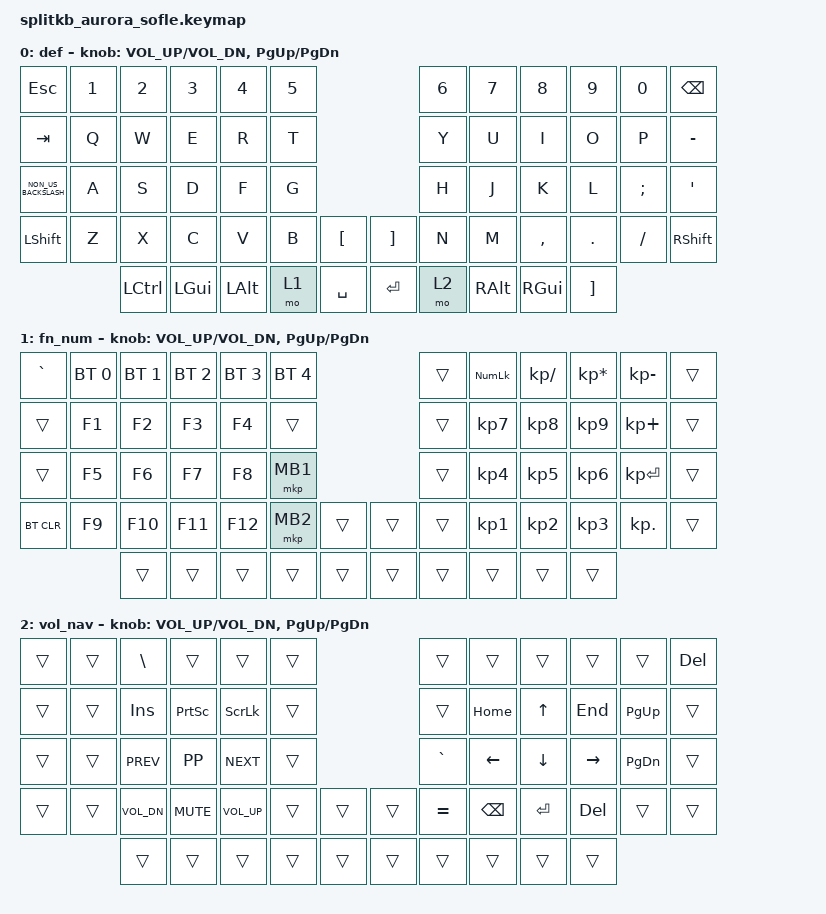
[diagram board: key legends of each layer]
#include <behaviors.dtsi>
#include <dt-bindings/zmk/bt.h>
#include <dt-bindings/zmk/keys.h>
#include <dt-bindings/zmk/mouse.h>

/* Rgb
&led_strip {
    chain-length = <6>;
    // chain-length = <35>; // Per key + underglow
    // chain-length = <29>; // Per key
};
 */

/{
keymap {
    compatible = "zmk,keymap";
    def {
        bindings = <
            &kp ESC                 &kp N1              &kp N2              &kp N3              &kp N4              &kp N5                                                      &kp N6              &kp N7              &kp N8              &kp N9              &kp N0              &kp BSPC
            &kp TAB                 &kp Q               &kp W               &kp E               &kp R               &kp T                                                       &kp Y               &kp U               &kp I               &kp O               &kp P               &kp MINUS
            &kp NON_US_BACKSLASH    &kp A               &kp S               &kp D               &kp F               &kp G                                                       &kp H               &kp J               &kp K               &kp L               &kp SEMI            &kp SQT
            &kp LSHFT               &kp Z               &kp X               &kp C               &kp V               &kp B               &kp LBKT            &kp RBKT            &kp N               &kp M               &kp COMMA           &kp DOT             &kp SLASH           &kp RSHFT
                                                        &kp LCTRL           &kp LEFT_GUI        &kp LEFT_ALT        &mo 1               &kp SPACE           &kp RET             &mo 2               &kp RIGHT_ALT       &kp RIGHT_GUI       &kp RBKT
            >;

            sensor-bindings =
                <&inc_dec_kp C_VOL_UP C_VOL_DN>,
                <&inc_dec_kp PG_UP PG_DN>;
        };

        fn_num {
            bindings = <
            &kp GRAVE           &bt BT_SEL 0        &bt BT_SEL 1        &bt BT_SEL 2        &bt BT_SEL 3        &bt BT_SEL 4                                                &trans              &kp KP_NUMLOCK      &kp KP_DIVIDE       &kp KP_MULTIPLY     &kp KP_MINUS        &trans
            &trans              &kp F1              &kp F2              &kp F3              &kp F4              &trans                                                      &trans              &kp KP_NUMBER_7     &kp KP_NUMBER_8     &kp KP_NUMBER_9     &kp KP_PLUS         &trans
            &trans              &kp F5              &kp F6              &kp F7              &kp F8              &mkp MB1                                                    &trans              &kp KP_NUMBER_4     &kp KP_NUMBER_5     &kp KP_NUMBER_6     &kp KP_ENTER        &trans
            &bt BT_CLR          &kp F9              &kp F10             &kp F11             &kp F12             &mkp MB2            &trans               &trans             &trans              &kp KP_NUMBER_1     &kp KP_NUMBER_2     &kp KP_NUMBER_3     &kp KP_DOT          &trans
                                                    &trans              &trans              &trans              &trans              &trans               &trans             &trans              &trans              &trans              &trans
            >;

            sensor-bindings =
                <&inc_dec_kp C_VOL_UP C_VOL_DN>,
                <&inc_dec_kp PG_UP PG_DN>;
        };

        vol_nav {
            bindings = <
            &trans              &trans              &kp BSLH            &trans              &trans              &trans                                                          &trans              &trans              &trans              &trans              &trans              &kp DEL
            &trans              &trans              &kp INS             &kp PRINTSCREEN     &kp SCROLLLOCK      &trans                                                      &trans              &kp HOME            &kp UP              &kp END             &kp PG_UP           &trans
            &trans              &trans              &kp K_PREV          &kp K_PP            &kp K_NEXT          &trans                                                      &kp GRAVE           &kp LEFT            &kp DOWN            &kp RIGHT           &kp PG_DN           &trans
            &trans              &trans              &kp K_VOL_DN        &kp K_MUTE          &kp K_VOL_UP        &trans              &trans              &trans              &kp EQUAL           &kp BSPC            &kp RETURN          &kp DEL             &trans              &trans
                                                    &trans              &trans              &trans              &trans              &trans              &trans              &trans              &trans              &trans              &trans
            >;

            sensor-bindings =
                <&inc_dec_kp C_VOL_UP C_VOL_DN>,
                <&inc_dec_kp PG_UP PG_DN>;
        };
    };
};
